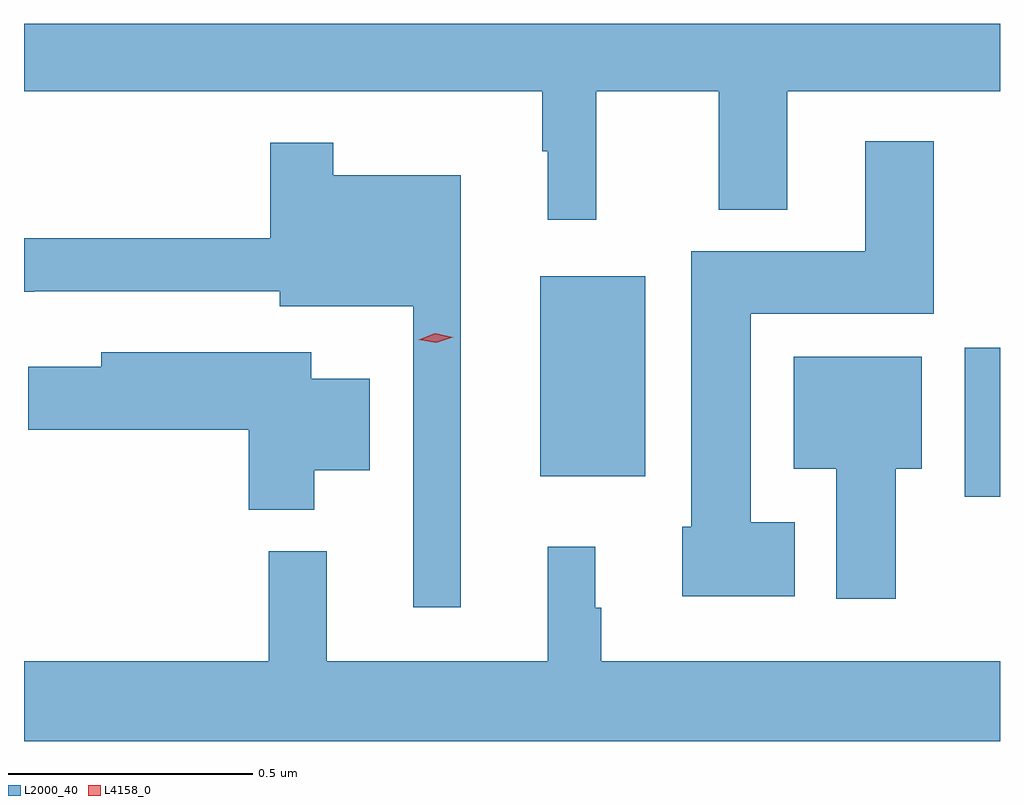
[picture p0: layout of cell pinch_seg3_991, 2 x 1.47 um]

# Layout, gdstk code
import gdstk
lib = gdstk.Library(unit=1e-6, precision=1e-09)
def R(c, l, rs):  # rectangles x0, y0, x1, y1
    for r in rs: c.add(gdstk.rectangle(r[:2], r[2:], *l))
def P(c, l, *ps):  # polygons
    for p in ps: c.add(gdstk.Polygon(p, *l))
L2000_40 = (2000, 40)
L4158_0 = (4158, 0)

pinch_seg3_991 = lib.new_cell('pinch_seg3_991')
R(pinch_seg3_991, L2000_40, [(415.007,734.717,415.079,735.022), (414.137,734.759,414.352,735.169)])
P(pinch_seg3_991, L2000_40, [(414.252,735.548),(414.503,735.548),(414.503,735.305),(414.643,735.305),(414.643,735.548),(415.079,735.548),(415.079,735.686),(413.079,735.686),(413.079,735.548),(414.141,735.548),(414.141,735.425),(414.152,735.425),(414.152,735.285),(414.252,735.285)],
  [(414.658,734.665),(414.568,734.665),(414.568,735.092),(414.943,735.092),(414.943,735.445),(414.803,735.445),(414.803,735.22),(414.446,735.22),(414.446,734.655),(414.428,734.655),(414.428,734.513),(414.658,734.513)],
  [(413.974,735.376),(413.713,735.376),(413.713,735.442),(413.584,735.442),(413.584,735.247),(413.079,735.247),(413.079,735.137),(413.1,735.137),(413.1,735.138),(413.603,735.138),(413.603,735.107),(413.877,735.107),(413.877,734.49),(413.974,734.49)],
  [(413.674,734.771),(413.788,734.771),(413.788,734.959),(413.668,734.959),(413.668,735.013),(413.237,735.013),(413.237,734.983),(413.088,734.983),(413.088,734.854),(413.54,734.854),(413.54,734.69),(413.674,734.69)],
  [(414.865,734.774),(414.919,734.774),(414.919,735.004),(414.656,735.004),(414.656,734.774),(414.743,734.774),(414.743,734.508),(414.865,734.508)],
  [(415.079,734.38),(414.262,734.38),(414.262,734.489),(414.25,734.489),(414.25,734.614),(414.152,734.614),(414.152,734.38),(413.699,734.38),(413.699,734.605),(413.581,734.605),(413.581,734.38),(413.079,734.38),(413.079,734.216),(415.079,734.216)])
P(pinch_seg3_991, L4158_0, [(413.924,735.032),(413.888,735.039),(413.887,735.039),(413.888,735.039),(413.922,735.052),(413.958,735.044),(413.959,735.044),(413.958,735.044)])

lib.write_gds('pinch_seg3_991.gds')
